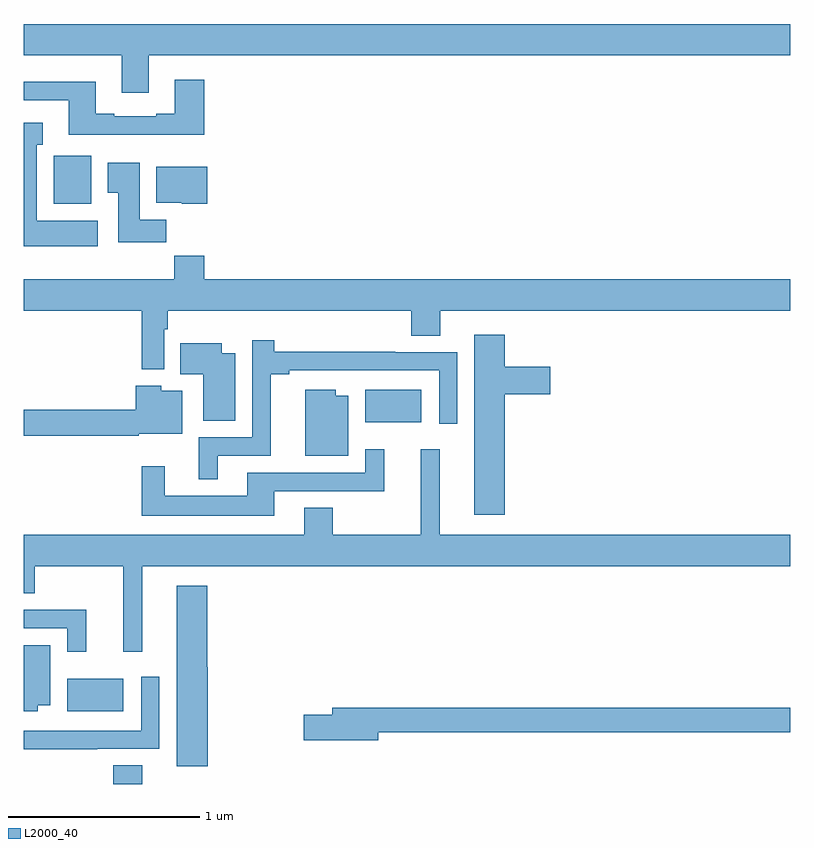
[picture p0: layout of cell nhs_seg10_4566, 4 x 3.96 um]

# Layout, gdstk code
import gdstk
lib = gdstk.Library(unit=1e-6, precision=1e-09)
def R(c, l, rs):  # rectangles x0, y0, x1, y1
    for r in rs: c.add(gdstk.rectangle(r[:2], r[2:], *l))
def P(c, l, *ps):  # polygons
    for p in ps: c.add(gdstk.Polygon(p, *l))
L2000_40 = (2000, 40)

nhs_seg10_4566 = lib.new_cell('nhs_seg10_4566')
R(nhs_seg10_4566, L2000_40, [(371.468,1312.5,371.62,1312.598), (371.228,1312.88,371.521,1313.05), (372.782,1314.386,373.075,1314.556), (371.157,1315.526,371.353,1315.776)])
P(nhs_seg10_4566, L2000_40, [(371.653,1316.3),(375,1316.3),(375,1316.464),(371,1316.464),(371,1316.3),(371.513,1316.3),(371.513,1316.106),(371.653,1316.106)],
  [(371.942,1316.173),(371.789,1316.173),(371.789,1315.996),(371.693,1315.996),(371.693,1315.983),(371.473,1315.983),(371.473,1315.996),(371.377,1315.996),(371.377,1316.164),(371,1316.164),(371,1316.067),(371.237,1316.067),(371.237,1315.886),(371.942,1315.886)],
  [(371.386,1315.438),(371.068,1315.438),(371.068,1315.835),(371.101,1315.835),(371.101,1315.948),(371,1315.948),(371,1315.304),(371.386,1315.304)],
  [(371.744,1315.444),(371.605,1315.444),(371.605,1315.741),(371.438,1315.741),(371.438,1315.585),(371.495,1315.585),(371.495,1315.326),(371.744,1315.326)],
  [(371.957,1315.72),(371.693,1315.72),(371.693,1315.532),(371.826,1315.532),(371.826,1315.526),(371.957,1315.526)],
  [(371.733,1314.872),(371.753,1314.872),(371.753,1314.968),(373.022,1314.968),(373.022,1314.838),(373.174,1314.838),(373.174,1314.968),(375,1314.968),(375,1315.132),(371.942,1315.132),(371.942,1315.256),(371.785,1315.256),(371.785,1315.132),(371,1315.132),(371,1314.968),(371.617,1314.968),(371.617,1314.662),(371.733,1314.662)],
  [(373.511,1314.533),(373.747,1314.533),(373.747,1314.675),(373.511,1314.675),(373.511,1314.844),(373.352,1314.844),(373.352,1313.904),(373.511,1313.904)],
  [(372.013,1314.213),(372.29,1314.213),(372.29,1314.637),(372.385,1314.637),(372.385,1314.657),(373.167,1314.657),(373.167,1314.378),(373.263,1314.378),(373.263,1314.753),(372.938,1314.753),(372.938,1314.755),(372.308,1314.755),(372.308,1314.814),(372.192,1314.814),(372.192,1314.309),(371.915,1314.309),(371.915,1314.089),(372.013,1314.089)],
  [(372.103,1314.748),(372.034,1314.748),(372.034,1314.799),(371.818,1314.799),(371.818,1314.638),(371.936,1314.638),(371.936,1314.394),(372.103,1314.394)],
  [(371.601,1314.326),(371.827,1314.326),(371.827,1314.55),(371.718,1314.55),(371.718,1314.577),(371.585,1314.577),(371.585,1314.452),(371,1314.452),(371,1314.316),(371.601,1314.316)],
  [(372.694,1314.526),(372.628,1314.526),(372.628,1314.556),(372.47,1314.556),(372.47,1314.212),(372.694,1314.212)],
  [(371.618,1313.636),(375,1313.636),(375,1313.8),(373.172,1313.8),(373.172,1314.247),(373.073,1314.247),(373.073,1313.8),(372.612,1313.8),(372.612,1313.942),(372.464,1313.942),(372.464,1313.8),(371,1313.8),(371,1313.494),(371.058,1313.494),(371.058,1313.636),(371.519,1313.636),(371.519,1313.19),(371.618,1313.19)],
  [(372.307,1314.027),(372.881,1314.027),(372.881,1314.247),(372.783,1314.247),(372.783,1314.123),(372.167,1314.123),(372.167,1314.004),(371.737,1314.004),(371.737,1314.157),(371.616,1314.157),(371.616,1313.9),(372.307,1313.9)],
  [(371.962,1313.109),(371.957,1313.109),(371.957,1313.533),(371.798,1313.533),(371.798,1312.593),(371.962,1312.593)],
  [(371.327,1313.409),(371,1313.409),(371,1313.313),(371.229,1313.313),(371.229,1313.19),(371.327,1313.19)],
  [(371.074,1312.91),(371.14,1312.91),(371.14,1313.224),(371,1313.224),(371,1312.88),(371.074,1312.88)],
  [(371.384,1312.683),(371.709,1312.683),(371.709,1313.059),(371.613,1313.059),(371.613,1312.779),(371,1312.779),(371,1312.682),(371.384,1312.682)],
  [(372.85,1312.77),(375,1312.77),(375,1312.898),(372.611,1312.898),(372.611,1312.862),(372.462,1312.862),(372.462,1312.727),(372.85,1312.727)])

lib.write_gds('nhs_seg10_4566.gds')
